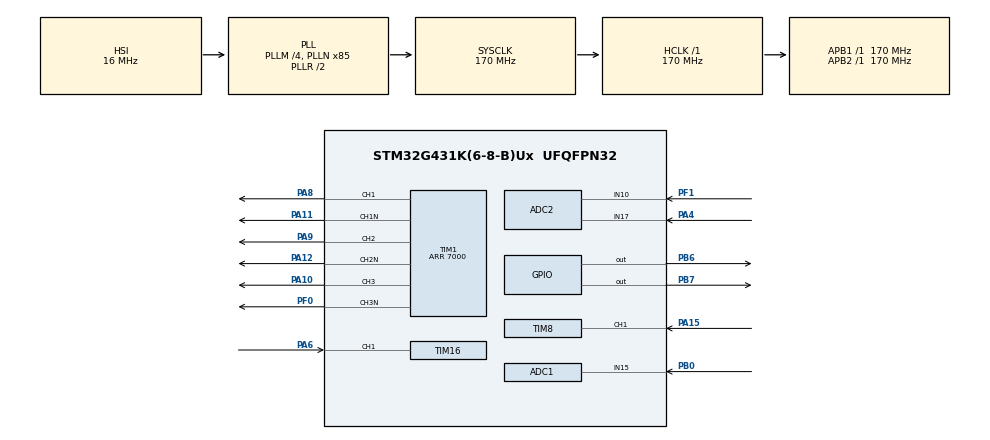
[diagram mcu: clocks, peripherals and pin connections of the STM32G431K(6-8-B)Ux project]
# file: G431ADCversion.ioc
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ADC1.Channel-0\#ChannelRegularConversion=ADC_CHANNEL_15
ADC1.ClockPrescaler=ADC_CLOCK_ASYNC_DIV4
ADC1.ExternalTrigConv=ADC_EXTERNALTRIG_T4_CC4
ADC1.NbrOfConversionFlag=1
ADC1.OffsetNumber-0\#ChannelRegularConversion=ADC_OFFSET_NONE
ADC1.Rank-0\#ChannelRegularConversion=1
ADC1.SamplingTime-0\#ChannelRegularConversion=ADC_SAMPLETIME_24CYCLES_5
ADC1.master=1
ADC2.Channel-0\#ChannelRegularConversion=ADC_CHANNEL_10
ADC2.ClockPrescaler=ADC_CLOCK_ASYNC_DIV4
ADC2.ExternalTrigConv=ADC_EXTERNALTRIG_T4_CC4
ADC2.NbrOfConversionFlag=1
ADC2.OffsetNumber-0\#ChannelRegularConversion=ADC_OFFSET_NONE
ADC2.Rank-0\#ChannelRegularConversion=1
ADC2.SamplingTime-0\#ChannelRegularConversion=ADC_SAMPLETIME_47CYCLES_5
Dma.Request0=TIM8_CH1
Dma.TIM8_CH1.0.Direction=DMA_PERIPH_TO_MEMORY
Dma.TIM8_CH1.0.EventEnable=DISABLE
Dma.TIM8_CH1.0.Instance=DMA1_Channel2
Dma.TIM8_CH1.0.MemDataAlignment=DMA_MDATAALIGN_WORD
Dma.TIM8_CH1.0.MemInc=DMA_MINC_ENABLE
Dma.TIM8_CH1.0.Mode=DMA_NORMAL
Dma.TIM8_CH1.0.PeriphDataAlignment=DMA_PDATAALIGN_HALFWORD
Dma.TIM8_CH1.0.PeriphInc=DMA_PINC_DISABLE
Dma.TIM8_CH1.0.Polarity=HAL_DMAMUX_REQ_GEN_RISING
Dma.TIM8_CH1.0.Priority=DMA_PRIORITY_MEDIUM
Dma.TIM8_CH1.0.RequestNumber=1
Dma.TIM8_CH1.0.SignalID=NONE
Dma.TIM8_CH1.0.SyncEnable=DISABLE
Dma.TIM8_CH1.0.SyncPolarity=HAL_DMAMUX_SYNC_NO_EVENT
Dma.TIM8_CH1.0.SyncRequestNumber=1
Dma.TIM8_CH1.0.SyncSignalID=NONE
IWDG.Reload=4095
IWDG.Window=4095
Mcu.Family=STM32G4
Mcu.Name=STM32G431K(6-8-B)Ux
Mcu.Package=UFQFPN32
NVIC.ADC1_2_IRQn=true\:0\:0\:true\:false\:true\:true\:true
NVIC.DMA1_Channel2_IRQn=true\:0\:0\:false\:false\:true\:false\:true
NVIC.PriorityGroup=NVIC_PRIORITYGROUP_4
NVIC.TIM1_UP_TIM16_IRQn=true\:1\:0\:true\:false\:true\:true\:true
PA10.Signal=S_TIM1_CH3
PA11.Mode=PWM Generation1 CH1 CH1N
PA11.Signal=TIM1_CH1N
PA12.Mode=PWM Generation2 CH2 CH2N
PA12.Signal=TIM1_CH2N
PA13.Signal=SYS_JTMS-SWDIO
PA14.Signal=SYS_JTCK-SWCLK
PA15.Signal=S_TIM8_CH1
PA4.Mode=IN17-Single-Ended
PA4.Signal=ADC2_IN17
PA6.Signal=S_TIM16_CH1
PA8.Signal=S_TIM1_CH1
PA9.Signal=S_TIM1_CH2
PB0.Mode=IN15-Single-Ended
PB0.Signal=ADC1_IN15
PB4.Signal=S_TIM3_CH1
PB6.Signal=GPIO_Output
PB7.Signal=GPIO_Output
PF0-OSC_IN.Mode=PWM Generation3 CH3 CH3N
PF0-OSC_IN.Signal=TIM1_CH3N
PF1-OSC_OUT.Mode=IN10-Single-Ended
PF1-OSC_OUT.Signal=ADC2_IN10
ProjectManager.HeapSize=0x200
ProjectManager.StackSize=0x400
ProjectManager.TargetToolchain=STM32CubeIDE
RCC.ADC12Freq_Value=170000000
RCC.AHBFreq_Value=170000000
RCC.APB1Freq_Value=170000000
RCC.APB1TimFreq_Value=170000000
RCC.APB2Freq_Value=170000000
RCC.APB2TimFreq_Value=170000000
RCC.CortexFreq_Value=170000000
RCC.EXTERNAL_CLOCK_VALUE=12288000
RCC.HCLKFreq_Value=170000000
RCC.HSE_VALUE=8000000
RCC.HSI48_VALUE=48000000
RCC.HSI_VALUE=16000000
RCC.LSE_VALUE=32768
RCC.PLLM=RCC_PLLM_DIV4
RCC.PLLN=85
RCC.SYSCLKFreq_VALUE=170000000
RCC.SYSCLKSource=RCC_SYSCLKSOURCE_PLLCLK
RCC.USBFreq_Value=170000000
RCC.VCOOutputFreq_Value=340000000
SH.S_TIM16_CH1.0=TIM16_CH1,Input_Capture1_from_TI1
SH.S_TIM1_CH1.0=TIM1_CH1,PWM Generation1 CH1 CH1N
SH.S_TIM1_CH2.0=TIM1_CH2,PWM Generation2 CH2 CH2N
SH.S_TIM1_CH3.0=TIM1_CH3,PWM Generation3 CH3 CH3N
SH.S_TIM3_CH1.0=TIM3_CH1
SH.S_TIM3_CH1.1=TIM3_CH1
SH.S_TIM8_CH1.0=TIM8_CH1,Input_Capture1_from_TI1
SH.S_TIM8_CH1.1=TIM8_CH1,TriggerSource_TI1FP1
TIM1.Channel-Output\ Compare4\ No\ Output=TIM_CHANNEL_4
TIM1.Channel-PWM\ Generation1\ CH1\ CH1N=TIM_CHANNEL_1
TIM1.Channel-PWM\ Generation2\ CH2\ CH2N=TIM_CHANNEL_2
TIM1.Channel-PWM\ Generation3\ CH3\ CH3N=TIM_CHANNEL_3
TIM1.DeadTime=80
TIM1.PeriodNoDither=7000
TIM1.TIM_MasterOutputTrigger=TIM_TRGO_UPDATE
TIM1.TIM_MasterSlaveMode=TIM_MASTERSLAVEMODE_ENABLE
TIM16.Channel=TIM_CHANNEL_1
TIM16.PeriodNoDither=8000
TIM16.Prescaler=3
TIM2.PeriodNoDither=125000
TIM4.Channel-Output\ Compare4\ No\ Output=TIM_CHANNEL_4
TIM4.PeriodNoDither=7000
TIM4.TIM_MasterOutputTrigger=TIM_TRGO_ENABLE
TIM4.TIM_MasterSlaveMode=TIM_MASTERSLAVEMODE_DISABLE
TIM8.Channel-Input_Capture1_from_TI1=TIM_CHANNEL_1
TIM8.ICPolarity_CH1=TIM_INPUTCHANNELPOLARITY_BOTHEDGE
TIM8.PeriodNoDither=65535
TIM8.Prescaler=3
VP_IWDG_VS_IWDG.Mode=IWDG_Activate
VP_SYS_VS_DBSignals.Mode=DisableDeadBatterySignals
VP_TIM16_VS_ClockSourceINT.Mode=Enable_Timer
VP_TIM1_VS_no_output4.Mode=Output Compare4 No Output
VP_TIM2_VS_ClockSourceINT.Mode=Internal
VP_TIM4_VS_no_output4.Mode=Output Compare4 No Output
VP_TIM8_VS_ControllerModeReset.Mode=Reset Mode
board=custom

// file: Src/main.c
/* USER CODE BEGIN Header */
/**
  ******************************************************************************
  * @file           : main.c
  * @brief          : Main program body
  ******************************************************************************
  * @attention
  *
  * <h2><center>&copy; Copyright (c) 2019 STMicroelectronics.
  * All rights reserved.</center></h2>
  *
  * This software component is licensed by ST under BSD 3-Clause license,
  * the "License"; You may not use this file except in compliance with the
  * License. You may obtain a copy of the License at:
  *                        opensource.org/licenses/BSD-3-Clause
  *
  ******************************************************************************
  */
/* USER CODE END Header */

#include "main.h"

ADC_HandleTypeDef hadc1;
ADC_HandleTypeDef hadc2;

IWDG_HandleTypeDef hiwdg;

TIM_HandleTypeDef htim1;
TIM_HandleTypeDef htim2;
TIM_HandleTypeDef htim4;
TIM_HandleTypeDef htim8;
TIM_HandleTypeDef htim16;
DMA_HandleTypeDef hdma_tim8_ch1;

/* USER CODE BEGIN PV */
uint16_t ADC1ConvertedValues[2];
//int bemf_a =0;

char bi_direction = 1;
char reversed_direction = 0;

int zero_input_count =0;

int ticks = 0;
int toggled = 0;
int running = 0;
int advance = 0;
int blanktime;
int START_ARR=800;
int rising = 1;
int count = 0;

int forward = 1;
int error = 0;
int zc_counts;
int threshold_up = 50;
int threshold_down = 0;

int ADCtimer= 30;
int demagtime = 50;

int whatstepisthis = 0 ;       // for debugging
int myneutral = 1300; // for debugging
int myneutralup = 1500;

int IC_buffer_size = 64;
int smallestnumber = 20000;
uint32_t dma_buffer[64];
int propulse[4] = {0,0,0,0};
int dpulse[16] =  {0,0,0,0,0,0,0,0,0,0,0,0,0,0,0,0};

int calcCRC;
int checkCRC;
int dshotcommand;
int tocheck = 0;
int commandcount = 0;

int max_servo_deviation = 100;
int servorawinput = 0;
int input = 0;
int newinput =0;
int total = 0;
char inputSet = 0;
char dshot = 0;
char proshot = 0;
char multishot = 0;
char oneshot42 = 0;
char oneshot125 = 0;
char servoPwm = 0;

char armed = 0;

int integral = 0;
int threshold = 850;
int zcfound = 0;
int difference;
int bemfcounter;
int min_zc_counts_up = 1;
int min_zc_counts_down = 1;

int adc_timer = 600;
int ROC = 1;

int lastzctime;
int thiszctime;
int upthiszctime;
int uplastzctime;
int wait_time;

int phase = 1;

int tim2_start_arr= 616;

uint32_t last_adc_channel;

int duty_cycle= 33;   // USE EXTREME CAUTION WHEN TESTING

int bemf_rising = 1;

int step = 1;
int pot = 1000;

int commutation_interval = 6000;
int pwm = 1;
int floating =2;
int lowside = 3;
int zero_cross_offset_up= 1;  //  up and down offset adc read
int zero_cross_offset_down= 30;
int sensorless = 1;
int waitTime = 0;
int threshhold = 5;

int signaltimeout = 0;

uint8_t ubAnalogWatchdogStatus = RESET;

int bemf = 0;
int bemfb = 0;
int bemfc = 0;
int neutral = 0;

/* USER CODE END PV */

void SystemClock_Config(void);
static void MX_GPIO_Init(void);
static void MX_DMA_Init(void);
static void MX_ADC1_Init(void);
static void MX_ADC2_Init(void);
static void MX_IWDG_Init(void);
static void MX_TIM1_Init(void);
static void MX_TIM2_Init(void);
static void MX_TIM4_Init(void);
static void MX_TIM8_Init(void);
static void MX_TIM16_Init(void);

/* USER CODE BEGIN 0 */
//////////////////////////////////PHASE 1//////////////////////
long map(long x, long in_min, long in_max, long out_min, long out_max)
{
	if (x < in_min){
		x = in_min;
	}
	if (x > in_max){
		x = in_max;
	}
	return (x - in_min) * (out_max - out_min) / (in_max - in_min) + out_min;

}
void phaseBPWM() {

		LL_GPIO_SetPinMode(GPIOA, GPIO_PIN_12, LL_GPIO_MODE_ALTERNATE); // low

		LL_GPIO_SetPinMode(GPIOA, GPIO_PIN_9, LL_GPIO_MODE_ALTERNATE);  // high

	}

void phaseBFLOAT() {

		LL_GPIO_SetPinMode(GPIOA, GPIO_PIN_12, LL_GPIO_MODE_OUTPUT);
		GPIOA->BRR = GPIO_PIN_12;
		LL_GPIO_SetPinMode(GPIOA, GPIO_PIN_9, LL_GPIO_MODE_OUTPUT);
		GPIOA->BRR = GPIO_PIN_9;
	}

void phaseBLOW() {

	        // low mosfet on
		LL_GPIO_SetPinMode(GPIOA, GPIO_PIN_12, LL_GPIO_MODE_OUTPUT);
		GPIOA->BSRR = GPIO_PIN_12;
		LL_GPIO_SetPinMode(GPIOA, GPIO_PIN_9, LL_GPIO_MODE_OUTPUT);
		GPIOA->BRR = GPIO_PIN_9;
	}

//////////////////////////////PHASE 2//////////////////////////////////////////////////

void phaseAPWM() {

		LL_GPIO_SetPinMode(GPIOA, GPIO_PIN_11, LL_GPIO_MODE_ALTERNATE);

		LL_GPIO_SetPinMode(GPIOA, GPIO_PIN_8, LL_GPIO_MODE_ALTERNATE);           //HIGH

	}

void phaseAFLOAT() {

	         // floating
		LL_GPIO_SetPinMode(GPIOA, GPIO_PIN_11, LL_GPIO_MODE_OUTPUT);           // LOW
		GPIOA->BRR = GPIO_PIN_11;
		LL_GPIO_SetPinMode(GPIOA, GPIO_PIN_8, LL_GPIO_MODE_OUTPUT);            //HIGH
		GPIOA->BRR = GPIO_PIN_8;
	}

void phaseALOW() {

	            // lowside
		LL_GPIO_SetPinMode(GPIOA, GPIO_PIN_11, LL_GPIO_MODE_OUTPUT);
		GPIOA->BSRR = GPIO_PIN_11;
		LL_GPIO_SetPinMode(GPIOA, GPIO_PIN_8, LL_GPIO_MODE_OUTPUT);
		GPIOA->BRR = GPIO_PIN_8;
	}

///////////////////////////////////////////////PHASE 3 /////////////////////////////////////////////////

void phaseCPWM() {

		LL_GPIO_SetPinMode(GPIOF, GPIO_PIN_0, LL_GPIO_MODE_ALTERNATE); //low

		LL_GPIO_SetPinMode(GPIOA, GPIO_PIN_10, LL_GPIO_MODE_ALTERNATE);//high

	}

void phaseCFLOAT() {

		LL_GPIO_SetPinMode(GPIOF, GPIO_PIN_0, LL_GPIO_MODE_OUTPUT);
		GPIOF->BRR = GPIO_PIN_0;
		LL_GPIO_SetPinMode(GPIOA, GPIO_PIN_10, LL_GPIO_MODE_OUTPUT);
		GPIOA->BRR = GPIO_PIN_10;
	}

void phaseCLOW() {

		LL_GPIO_SetPinMode(GPIOF, GPIO_PIN_0, LL_GPIO_MODE_OUTPUT); // low
		GPIOF->BSRR = GPIO_PIN_0;
		LL_GPIO_SetPinMode(GPIOA, GPIO_PIN_10, LL_GPIO_MODE_OUTPUT); //high
		GPIOA->BRR = GPIO_PIN_10;
	}

void  comStep (int newStep){
//TIM14->CNT = 0;
switch(newStep)
{

        case 1:			//A-B
        	phaseAPWM();
        	phaseBLOW();
        	phaseCFLOAT();
        	break;

        case 2:		// C-B
        	phaseAFLOAT();
        	phaseBLOW();
        	phaseCPWM();
        	break;

        case 3:	// C-A
        	phaseALOW();
        	phaseBFLOAT();
        	phaseCPWM();
        	break;

        case 4:// B-A
        	phaseALOW();
        	phaseBPWM();
        	phaseCFLOAT();
        	break;

        case 5:    // B-C
        	phaseAFLOAT();
        	phaseBPWM();
        	phaseCLOW();
        	break;

        case 6:      // A-C
        	phaseAPWM();
        	phaseBFLOAT();
        	phaseCLOW();
        	break;
	}

//stop_time = TIM14->CNT;

}

void allOff() {                   // coast
	phaseAFLOAT();
	phaseBFLOAT();
	phaseCFLOAT();
}

void fullBrake(){                     // full braking shorting all low sides
	phaseALOW();
	phaseBLOW();
	phaseCLOW();
}
void HAL_TIM_PeriodElapsedCallback(TIM_HandleTypeDef *htim){

			if (htim->Instance==TIM16)
			{

			if(inputSet == 1){
				 if (!HAL_GPIO_ReadPin(GPIOA, GPIO_PIN_15)){

		     HAL_TIM_IC_Stop_DMA(&htim8,TIM_CHANNEL_1);
			 TIM15->CNT = 0;
//			 for (int i = 0; i < 8; i++){
//			 							dma_buffer[i]=0;
//			 						}

				 HAL_TIM_IC_Start_DMA(&htim8, TIM_CHANNEL_1, dma_buffer , IC_buffer_size);
			 }

			 }

		}

}

void detectInput(){
	smallestnumber = 20000;
	dshot = 0;
	proshot = 0;
	multishot = 0;
	oneshot42 = 0;
	oneshot125 = 0;
	servoPwm = 0;
//	int lastnumber = dma_buffer[0];
	for ( int j = 1 ; j < IC_buffer_size; j++){

		if(dma_buffer[j]  < smallestnumber){ // blank space
			smallestnumber = dma_buffer[j];
		}

	}

	if ((smallestnumber > 3)&&(smallestnumber < 20)){
		dshot = 1;
		TIM8->PSC = 69;
		IC_buffer_size = 32;
		TIM16->ARR = 8000;
	}
	if ((smallestnumber > 20)&&(smallestnumber < 30)){
			dshot = 1;
			TIM8->PSC = 113;
			TIM16->PSC = 4;
			TIM16->ARR = 8000;
			IC_buffer_size = 32;
		}

	if ((smallestnumber > 40 )&&(smallestnumber < 80)){
		proshot = 1;
		TIM8->PSC = 4;
		IC_buffer_size = 8;
		TIM16->ARR = 8000;
	}

	if (smallestnumber > 100){
		servoPwm = 1;
		TIM15->PSC = 169;
//		TIM16->PSC = 47;
//		TIM16->ARR = 10000;
		HAL_TIM_Base_Stop(&htim16);
		IC_buffer_size = 6;

	}

	if (smallestnumber == 0){
		inputSet = 0;
	}else{

		inputSet = 1;

		HAL_Delay(50);
		//	playInputTune();
	}
	HAL_TIM_IC_Start_DMA(&htim8, TIM_CHANNEL_1, dma_buffer , IC_buffer_size);
}

void computeProshotDMA(){

total = dma_buffer[1]+ dma_buffer[2] + dma_buffer[3] + dma_buffer[4]+ dma_buffer[5] + dma_buffer[6] + dma_buffer[7];

   if (( total < 118 && total > 98)&& (dma_buffer[0]> 100)){
   for (int i = 1; i < 8; i +=2){
    propulse[(i-1) / 2] = (dma_buffer[i] - 7);
					}
   }else{

	   return;
   }
	calcCRC = ((propulse[0]^propulse[1]^propulse[2])<<3
							|(propulse[0]^propulse[1]^propulse[2])<<2
							|(propulse[0]^propulse[1]^propulse[2])<<1
							|(propulse[0]^propulse[1]^propulse[2]));

	checkCRC = (propulse[3]<<3 | propulse[3]<<2 | propulse[3]<<1 | propulse[3]);
    if ( checkCRC == calcCRC){
    	tocheck = ((propulse[0]<<7 | propulse[1]<<3 | propulse[2]>>1));
    }else{
 //   	error++;
    }
    if (tocheck > 47 && tocheck < 2048){
    	newinput = tocheck ;
    				commandcount = 0;

    			}else if (tocheck > 1 && tocheck < 48 && input == 0){

    					dshotcommand = tocheck ;
    			}else{
    				commandcount++;
    				if (commandcount > 1){
    				newinput = tocheck ;
    			    commandcount = 0;
    			}
    			}

}

void computeDshotDMA(){

	if (dma_buffer[0] < 20){
		return;
	}

//	for (int i = 1; i < 32; i+=2){
//		dpulse[(i-1)>>1] = dma_buffer[i] ;
//	}
	 calcCRC = ((dma_buffer[1]^dma_buffer[9]^dma_buffer[17])<<3
			          |(dma_buffer[3]^dma_buffer[11]^dma_buffer[19])<<2
					|(dma_buffer[5]^dma_buffer[13]^dma_buffer[21])<<1
					|(dma_buffer[7]^dma_buffer[15]^dma_buffer[23])
				);
//	 calcCRC = ((dpulse[0]^dpulse[4]^dpulse[8])<<3
//			          |(dpulse[1]^dpulse[5]^dpulse[9])<<2
//					|(dpulse[2]^dpulse[6]^dpulse[10])<<1
//					|(dpulse[3]^dpulse[7]^dpulse[11])
//				);
//	 checkCRC = (dpulse[12]<<3 | dpulse[13]<<2 | dpulse[14]<<1 | dpulse[15]);
	 checkCRC = (dma_buffer[25]<<3 | dma_buffer[27]<<2 | dma_buffer[29]<<1 | dma_buffer[31]);
//
			if(calcCRC == checkCRC){
				tocheck = (
						dma_buffer[1]<<10 | dma_buffer[3]<<9 | dma_buffer[5]<<8 | dma_buffer[7]<<7
					| dma_buffer[9]<<6 | dma_buffer[11]<<5 | dma_buffer[13]<<4 | dma_buffer[15]<<3
					| dma_buffer[17]<<2 | dma_buffer[19]<<1 | dma_buffer[21]);
//				success++;
				}else{
					error++;
				}

			if (tocheck > 47 && tocheck < 2048){
				newinput = tocheck;
				commandcount = 0;
			}else if (tocheck > 1 && tocheck < 48 && input == 0){

					dshotcommand = tocheck ;

			}else{
				commandcount++;
				if (commandcount > 1){
				newinput = tocheck ;
			    commandcount = 0;
			}
			}

}

void computeServoInput(){

	if ( dma_buffer[1] < 2000 && dma_buffer[1] > 1000){
		if(dma_buffer[2]< 1000 || dma_buffer[2] > 2500){

		servorawinput = map(dma_buffer[1], 1100,2000,0,2000);
		}
	}else if( dma_buffer[2] < 2000 && dma_buffer[2] > 1000) {
		if(dma_buffer[1]< 1000 || dma_buffer[1] > 2500){
		servorawinput = map(dma_buffer[2], 1100,2000,0,2000);
		}
	}

	if (servorawinput - newinput > max_servo_deviation){
		newinput += max_servo_deviation;
	}else if(newinput - servorawinput > max_servo_deviation){
		newinput -= max_servo_deviation;
	}else{
		newinput = servorawinput;
	}

}

void transferComplete(){

//	compit = 0;
	signaltimeout = 0;

	if (inputSet == 1){
		if (dshot == 1){
			computeDshotDMA();

			return;
		}
		if (proshot == 1){
			computeProshotDMA();

			return;
		}

		if  (servoPwm == 1){
			computeServoInput();
				HAL_TIM_IC_Start_DMA(&htim8, TIM_CHANNEL_1, dma_buffer , 3);
				}
}

}
void switchADCPhase(){
	ADC_ChannelConfTypeDef sConfig;
//	HAL_ADC_Stop_IT(&hadc1);
	//clear old channel
	    /**Configure for the selected ADC regular channel to be converted.
	     *
	     *
	    */

	 if (step == 1 || step == 4){            //        in phase 1 or 4 read from phase c Pf1 adc2
		 HAL_ADC_Stop_IT(&hadc2);
		 HAL_ADC_Stop_IT(&hadc1);
		 //		  sConfig.Rank = ADC_RANK_NONE;
//	//	  sConfig.SamplingTime = ADC_SAMPLETIME_1CYCLE_5;
//		  sConfig.Channel = last_adc_channel;
//		   	   		  if (HAL_ADC_ConfigChannel(&hadc, &sConfig) != HAL_OK)
//		   	   		  {
//		   	   		    _Error_Handler(__FILE__, __LINE__);
//		   	   		  }
		   sConfig.Channel = ADC_CHANNEL_10;
		   sConfig.Rank = ADC_REGULAR_RANK_1;

	      if (HAL_ADC_ConfigChannel(&hadc2, &sConfig) != HAL_OK)
	      {
	    	  Error_Handler();
	      }
	      HAL_ADC_Start_IT(&hadc2);
		}
   if (step == 2 || step == 5){            //        in phase two or 5 read from phase A PA4 adc2
	   HAL_ADC_Stop_IT(&hadc2);
	   HAL_ADC_Stop_IT(&hadc1);
	   //	  sConfig.Rank = ADC_RANK_NONE;
////	  sConfig.SamplingTime = ADC_SAMPLETIME_1CYCLE_5;
//	  sConfig.Channel = last_adc_channel;
//	   	   		  if (HAL_ADC_ConfigChannel(&hadc, &sConfig) != HAL_OK)
//	   	   		  {
//	   	   		    _Error_Handler(__FILE__, __LINE__);
//	   	   		  }

	   	   	sConfig.Channel = ADC_CHANNEL_17;
	   	   	  sConfig.Rank = ADC_REGULAR_RANK_1;

      if (HAL_ADC_ConfigChannel(&hadc2, &sConfig) != HAL_OK)
      {
    	  Error_Handler();
      }
      HAL_ADC_Start_IT(&hadc2);
	}

   if (step == 3 || step == 6){                         // phase B pb0 --- on adc 1 does not change
	   HAL_ADC_Stop_IT(&hadc2);
	   //	     sConfig.Rank = ADC_RANK_NONE;
//	     sConfig.Channel = last_adc_channel;
//	//     sConfig.SamplingTime = ADC_SAMPLETIME_1CYCLE_5;
//	     if (HAL_ADC_ConfigChannel(&hadc, &sConfig) != HAL_OK)
//				  {
//				    _Error_Handler(__FILE__, __LINE__);
//				  }
//	    sConfig.Rank = ADC_RANK_CHANNEL_NUMBER;
//		sConfig.Channel = ADC_CHANNEL_1;
//
//	    if (HAL_ADC_ConfigChannel(&hadc, &sConfig) != HAL_OK)
//				  {
//				    _Error_Handler(__FILE__, __LINE__);
//				  }
//	    last_adc_channel=ADC_CHANNEL_1;
	   HAL_ADC_Start_IT(&hadc1);      // zc found is not set to 0 until end of zcfound routine
			}
}
void commutate(){
	if (forward == 1){
		step++;
		if (step > 6) {
			step = 1;
		}
		if (step == 1 || step == 3 || step == 5) {
			rising = 1;                                // is back emf rising or falling
		}
		if (step == 2 || step == 4 || step == 6) {
			rising = 0;
		}
	}
	if (forward == 0){
		step--;
		if (step < 1) {
			step = 6;
		}
		if (step == 1 || step == 3 || step == 5) {
			rising = 0;
		}
		if (step == 2 || step == 4 || step == 6) {
			rising = 1;
		}
	}
	comStep(step);
	switchADCPhase();
	bemfcounter = 0;
//	zcfound = 0;
}

void playStartupTune(){
	TIM1->PSC = 75;
	TIM1->CCR1 = 5;
	TIM1->CCR2 = 5;
	TIM1->CCR3 = 5;
	comStep(2);
	HAL_Delay(100);
	TIM1->PSC = 50;
	HAL_Delay(100);
	TIM1->PSC = 25;
	HAL_Delay(100);
	allOff();
	TIM1->PSC = 0;
}

void playInputTune(){
	TIM1->PSC = 100;
	TIM1->CCR1 = 5;
	TIM1->CCR2 = 5;
	TIM1->CCR3 = 5;
	comStep(2);
	HAL_Delay(100);
	TIM1->PSC = 50;
	HAL_Delay(100);
	allOff();
	TIM1->PSC = 0;
}

void zcfoundroutine(){
	thiszctime = TIM2->CNT;
	TIM2->CNT = 0;
	commutation_interval = thiszctime + commutation_interval / 2;
	waitTime = commutation_interval / 2;
	blanktime = commutation_interval / 4;
	while (TIM2->CNT - thiszctime < waitTime - advance){

	}
	commutate();
	zc_counts++;
	while (TIM2->CNT - thiszctime < waitTime + blanktime){

	}
//	HAL_ADC_Start_IT(&hadc);
    zcfound = 0;
}
void HAL_ADC_ConvCpltCallback(ADC_HandleTypeDef* hadc)
{
	//TIM1->CCR4 = adc_timer;

if(!zcfound){
	bemf = HAL_ADC_GetValue(hadc);
if (rising){
	if (bemf > threshold_up){

     bemfcounter++;

	}
    }  else{
	if (bemf <= threshold_down){
		bemfcounter++;

	}
	}
}
}
/* USER CODE END 0 */

int main(void)
{

  /* MCU Configuration--------------------------------------------------------*/

  /* Reset of all peripherals, Initializes the Flash interface and the Systick. */
  HAL_Init();

  /* Configure the system clock */
  SystemClock_Config();

  /* Initialize all configured peripherals */
  MX_GPIO_Init();
  MX_DMA_Init();
  MX_ADC1_Init();
  MX_ADC2_Init();
  MX_IWDG_Init();
  MX_TIM1_Init();
  MX_TIM2_Init();
  MX_TIM4_Init();
  MX_TIM8_Init();
  MX_TIM16_Init();
  /* USER CODE BEGIN 2 */
  HAL_TIM_PWM_Start(&htim1, TIM_CHANNEL_1);
  HAL_TIMEx_PWMN_Start(&htim1, TIM_CHANNEL_1);             // uncomment for comp_pwm
  HAL_TIM_PWM_Start(&htim1, TIM_CHANNEL_2);
  HAL_TIMEx_PWMN_Start(&htim1, TIM_CHANNEL_2);
  HAL_TIM_PWM_Start(&htim1, TIM_CHANNEL_3);
  HAL_TIMEx_PWMN_Start(&htim1, TIM_CHANNEL_3);
  HAL_Delay(10);

  if (HAL_TIM_OC_Start(&htim4, TIM_CHANNEL_4) != HAL_OK)
  		{
	  Error_Handler();
    }

  if (HAL_ADC_Start_IT(&hadc1) != HAL_OK)
	  return 0;
  if (HAL_ADC_Start_IT(&hadc2) != HAL_OK)
 	  return 0;

  TIM4->CCR4 = 800;                // adc read timer.

  HAL_TIM_Base_Start(&htim2);
  HAL_TIM_Base_Start(&htim8);
  HAL_TIM_Base_Start_IT(&htim16);

  HAL_TIM_IC_Start_DMA(&htim8, TIM_CHANNEL_1, dma_buffer , 64);

  GPIOB->BSRR = GPIO_PIN_7;            // to put bemf into on or off time sense mode, high output for off time ( default)

  playStartupTune();

  //GPIOA->BSRR = GPIO_PIN_11;          // maybe LED?
  running = 0;
  duty_cycle = 1;
	if(HAL_IWDG_Init(&hiwdg) != HAL_OK)
	{
		/* Initialization Error */
		Error_Handler();
	}
  /* USER CODE END 2 */

  /* Infinite loop */
  /* USER CODE BEGIN WHILE */
  while (1)
  {
	  count++;
	  if (count  > 20000){
	 	 count = 0;
	 	HAL_GPIO_TogglePin(GPIOB, GPIO_PIN_6);
	  }

	  if (inputSet == 0){
	 	 detectInput();
	  }
	 	  if (zero_input_count > 200 && !armed){
	 		  armed = 1;
	 		  playInputTune();
	 	  }

	 	  if (bi_direction == 1 && proshot == 0){

	 		if ( newinput > 1100 ){
	 			if(reversed_direction){
	 			if (forward == 1){
	 				forward = 0 ;
	 			}
	 			}else{
	 			if (forward == 0){
	 				forward = 1 ;
	 			}
	 			}
	 				input = (newinput - 1050)*3;
	 		}

	 		if (newinput < 800) {
	 			if(reversed_direction){
	 				if (forward == 0){
	 				forward = 1;
	 			}
	 			}else{

	 			if (forward == 1){
	 				forward = 0;
	 			}
	 			}
	 				input = (800 - newinput) * 3;
	 		}

	 		if (newinput > 800 && newinput < 1100){
	 			input = 0;

	 		}
	 	}else if((proshot || dshot)&& bi_direction){
	  					if ( newinput > 1100 ){

	  					  if (!forward){
	  						forward = 1 ;
	  					  }
	  						input = (newinput - 1100) * 2 ;

	  					}if ( newinput <= 1047 ){
	  						if(forward){
	  					forward = 0;
	  						}
	  						input = (newinput - 90) * 2 ;
	  					}
	  					if ((newinput > 1047 && newinput < 1100) || newinput < 100){
	  						input = 0;
	  					}

	  				}else{
	 	 input = newinput;
	 }

	 	if ((input > 47) && (armed == 1)) {
	 		  			running = 1;

	 		  			duty_cycle = (input  - 40) * 4;

	 		  			if (zc_counts < 20) {
	 		  				if (duty_cycle < 600) {
	 		  					duty_cycle = 600;
	 		  				}
	 		  				if (duty_cycle > 1800) {
	 		  					duty_cycle = 1800;
	 		  				}
	 		  			}

	 		  			if (zc_counts < 50 ){
	 		  				if (duty_cycle > 2000){
	 		  					duty_cycle = 2000;
	 		  				}
	 		  			}

	 		  				if (duty_cycle > 3000) {                             // safety!!!  set to only 50 percent power
	 		  					duty_cycle = 3000;
	 		  				}
	 		  				if (duty_cycle < 180) {
	 		  					duty_cycle = 180;
	 		  				}

	 		  				if (duty_cycle < 2000){
	 		  		 		 TIM4->CCR4 = 3000;
	 		  		 		 }

	 		  		 	 if (duty_cycle > 2000){
	 		  		 		 TIM4->CCR4 = 6000;
	 		  		 	 }

	 		  				TIM1->CCR1 = duty_cycle;// set duty cycle to 50 out of 768 to start.
	 		  				TIM1->CCR2 = duty_cycle;
	 		  				TIM1->CCR3 = duty_cycle;
	 		  				//	TIM1->CCR4 = duty_cycle;

	  }

	 if ( duty_cycle < 1000){
	 	min_zc_counts_up = 10;
	 	min_zc_counts_down = 10;
	 }else{
	 	min_zc_counts_up = commutation_interval / 5000;
	 	min_zc_counts_down = commutation_interval / 5000;
	 }

	 if (input < 140){
	 	 running = 0;
	 	 duty_cycle = 0;
	 	zc_counts = 0;

	 	 TIM1->CCR1 = duty_cycle;												// set duty cycle to 50 out of 768 to start.
	 	 TIM1->CCR2 = duty_cycle;
	 	 TIM1->CCR3 = duty_cycle;
	 	 TIM4->CNT = TIM1->CNT;                 // lazy synchronization
	  }

	// 	  GPIOF->BRR = GPIO_PIN_0;

	 	 // test speed of adc change

	 	//  GPIOF->BRR = GPIO_PIN_0;

	 	  if(HAL_IWDG_Refresh(&hiwdg) != HAL_OK)                   // watchdog refresh
	 	  			{
	 	  				/* Refresh Error */
	 	  				Error_Handler();
	 	  			}

	  if (!zcfound){
	 	  		  if (rising){
	 	  		 if (bemfcounter > min_zc_counts_up){
	 	  			 GPIOF->BSRR = GPIO_PIN_0;
	 	  			 zcfound = 1;
	 	  			 bemfcounter = 0;
	 	  			 zcfoundroutine();
	 	  		//	 break;

	 	  		}
	 	  		  }else{
	 	  			  if (bemfcounter > min_zc_counts_down){
	 	  			  			 GPIOF->BSRR = GPIO_PIN_0;
	 	  			  			 zcfound = 1;
	 	  			  			 bemfcounter = 0;
	 	  			  			 zcfoundroutine();
	 	  			  //			 break;

	 	  			  		}
	 	  		  }
	 	  	  }
  	  if (TIM2->CNT > 60000 && running == 1){           // this starts the motor
  		//  TIM3->CNT = commutation_interval / 2;
  		  zcfoundroutine();
  		zc_counts = 0;
  	  }

    /* USER CODE END WHILE */

  }
}

void SystemClock_Config(void)
{
  RCC_OscInitTypeDef RCC_OscInitStruct = {0};
  RCC_ClkInitTypeDef RCC_ClkInitStruct = {0};
  RCC_PeriphCLKInitTypeDef PeriphClkInit = {0};

  /** Configure the main internal regulator output voltage
  */
  HAL_PWREx_ControlVoltageScaling(PWR_REGULATOR_VOLTAGE_SCALE1_BOOST);
  /** Initializes the CPU, AHB and APB busses clocks
  */
  RCC_OscInitStruct.OscillatorType = RCC_OSCILLATORTYPE_HSI|RCC_OSCILLATORTYPE_LSI;
  RCC_OscInitStruct.HSIState = RCC_HSI_ON;
  RCC_OscInitStruct.HSICalibrationValue = RCC_HSICALIBRATION_DEFAULT;
  RCC_OscInitStruct.LSIState = RCC_LSI_ON;
  RCC_OscInitStruct.PLL.PLLState = RCC_PLL_ON;
  RCC_OscInitStruct.PLL.PLLSource = RCC_PLLSOURCE_HSI;
  RCC_OscInitStruct.PLL.PLLM = RCC_PLLM_DIV4;
  RCC_OscInitStruct.PLL.PLLN = 85;
  RCC_OscInitStruct.PLL.PLLP = RCC_PLLP_DIV2;
  RCC_OscInitStruct.PLL.PLLQ = RCC_PLLQ_DIV2;
  RCC_OscInitStruct.PLL.PLLR = RCC_PLLR_DIV2;
  if (HAL_RCC_OscConfig(&RCC_OscInitStruct) != HAL_OK)
  {
    Error_Handler();
  }
  /** Initializes the CPU, AHB and APB busses clocks
  */
  RCC_ClkInitStruct.ClockType = RCC_CLOCKTYPE_HCLK|RCC_CLOCKTYPE_SYSCLK
                              |RCC_CLOCKTYPE_PCLK1|RCC_CLOCKTYPE_PCLK2;
  RCC_ClkInitStruct.SYSCLKSource = RCC_SYSCLKSOURCE_PLLCLK;
  RCC_ClkInitStruct.AHBCLKDivider = RCC_SYSCLK_DIV1;
  RCC_ClkInitStruct.APB1CLKDivider = RCC_HCLK_DIV1;
  RCC_ClkInitStruct.APB2CLKDivider = RCC_HCLK_DIV1;

  if (HAL_RCC_ClockConfig(&RCC_ClkInitStruct, FLASH_LATENCY_8) != HAL_OK)
  {
    Error_Handler();
  }
  /** Initializes the peripherals clocks
  */
  PeriphClkInit.PeriphClockSelection = RCC_PERIPHCLK_ADC12;
  PeriphClkInit.Adc12ClockSelection = RCC_ADC12CLKSOURCE_SYSCLK;
  if (HAL_RCCEx_PeriphCLKConfig(&PeriphClkInit) != HAL_OK)
  {
    Error_Handler();
  }
}

static void MX_ADC1_Init(void)
{

  ADC_MultiModeTypeDef multimode = {0};
  ADC_ChannelConfTypeDef sConfig = {0};

  /** Common config
  */
  hadc1.Instance = ADC1;
  hadc1.Init.ClockPrescaler = ADC_CLOCK_ASYNC_DIV4;
  hadc1.Init.Resolution = ADC_RESOLUTION_12B;
  hadc1.Init.DataAlign = ADC_DATAALIGN_RIGHT;
  hadc1.Init.GainCompensation = 0;
  hadc1.Init.ScanConvMode = ADC_SCAN_DISABLE;
  hadc1.Init.EOCSelection = ADC_EOC_SINGLE_CONV;
  hadc1.Init.LowPowerAutoWait = DISABLE;
  hadc1.Init.ContinuousConvMode = DISABLE;
  hadc1.Init.NbrOfConversion = 1;
  hadc1.Init.DiscontinuousConvMode = DISABLE;
  hadc1.Init.ExternalTrigConv = ADC_EXTERNALTRIG_T4_CC4;
  hadc1.Init.ExternalTrigConvEdge = ADC_EXTERNALTRIGCONVEDGE_RISING;
  hadc1.Init.DMAContinuousRequests = DISABLE;
  hadc1.Init.Overrun = ADC_OVR_DATA_PRESERVED;
  hadc1.Init.OversamplingMode = DISABLE;
  if (HAL_ADC_Init(&hadc1) != HAL_OK)
  {
    Error_Handler();
  }
  /** Configure the ADC multi-mode
  */
  multimode.Mode = ADC_MODE_INDEPENDENT;
  if (HAL_ADCEx_MultiModeConfigChannel(&hadc1, &multimode) != HAL_OK)
  {
    Error_Handler();
  }
  /** Configure Regular Channel
  */
  sConfig.Channel = ADC_CHANNEL_15;
  sConfig.Rank = ADC_REGULAR_RANK_1;
  sConfig.SamplingTime = ADC_SAMPLETIME_24CYCLES_5;
  sConfig.SingleDiff = ADC_SINGLE_ENDED;
  sConfig.OffsetNumber = ADC_OFFSET_NONE;
  sConfig.Offset = 0;
  if (HAL_ADC_ConfigChannel(&hadc1, &sConfig) != HAL_OK)
  {
    Error_Handler();
  }

}

static void MX_ADC2_Init(void)
{

  ADC_ChannelConfTypeDef sConfig = {0};

  /** Common config
  */
  hadc2.Instance = ADC2;
  hadc2.Init.ClockPrescaler = ADC_CLOCK_ASYNC_DIV4;
  hadc2.Init.Resolution = ADC_RESOLUTION_12B;
  hadc2.Init.DataAlign = ADC_DATAALIGN_RIGHT;
  hadc2.Init.GainCompensation = 0;
  hadc2.Init.ScanConvMode = ADC_SCAN_DISABLE;
  hadc2.Init.EOCSelection = ADC_EOC_SINGLE_CONV;
  hadc2.Init.LowPowerAutoWait = DISABLE;
  hadc2.Init.ContinuousConvMode = DISABLE;
  hadc2.Init.NbrOfConversion = 1;
  hadc2.Init.DiscontinuousConvMode = DISABLE;
  hadc2.Init.ExternalTrigConv = ADC_EXTERNALTRIG_T4_CC4;
  hadc2.Init.ExternalTrigConvEdge = ADC_EXTERNALTRIGCONVEDGE_RISING;
  hadc2.Init.DMAContinuousRequests = DISABLE;
  hadc2.Init.Overrun = ADC_OVR_DATA_PRESERVED;
  hadc2.Init.OversamplingMode = DISABLE;
  if (HAL_ADC_Init(&hadc2) != HAL_OK)
  {
    Error_Handler();
  }
  /** Configure Regular Channel
  */
  sConfig.Channel = ADC_CHANNEL_10;
  sConfig.Rank = ADC_REGULAR_RANK_1;
  sConfig.SamplingTime = ADC_SAMPLETIME_47CYCLES_5;
  sConfig.SingleDiff = ADC_SINGLE_ENDED;
  sConfig.OffsetNumber = ADC_OFFSET_NONE;
  sConfig.Offset = 0;
  if (HAL_ADC_ConfigChannel(&hadc2, &sConfig) != HAL_OK)
  {
    Error_Handler();
  }

}

static void MX_IWDG_Init(void)
{

  hiwdg.Instance = IWDG;
  hiwdg.Init.Prescaler = IWDG_PRESCALER_4;
  hiwdg.Init.Window = 4095;
  hiwdg.Init.Reload = 4095;
  if (HAL_IWDG_Init(&hiwdg) != HAL_OK)
  {
    Error_Handler();
  }

}

static void MX_TIM1_Init(void)
{

  TIM_MasterConfigTypeDef sMasterConfig = {0};
  TIM_OC_InitTypeDef sConfigOC = {0};
  TIM_BreakDeadTimeConfigTypeDef sBreakDeadTimeConfig = {0};

  htim1.Instance = TIM1;
  htim1.Init.Prescaler = 0;
  htim1.Init.CounterMode = TIM_COUNTERMODE_UP;
  htim1.Init.Period = 7000;
  htim1.Init.ClockDivision = TIM_CLOCKDIVISION_DIV1;
  htim1.Init.RepetitionCounter = 0;
  htim1.Init.AutoReloadPreload = TIM_AUTORELOAD_PRELOAD_DISABLE;
  if (HAL_TIM_PWM_Init(&htim1) != HAL_OK)
  {
    Error_Handler();
  }
  if (HAL_TIM_OC_Init(&htim1) != HAL_OK)
  {
    Error_Handler();
  }
  sMasterConfig.MasterOutputTrigger = TIM_TRGO_RESET;
  sMasterConfig.MasterOutputTrigger2 = TIM_TRGO2_RESET;
  sMasterConfig.MasterSlaveMode = TIM_MASTERSLAVEMODE_DISABLE;
  if (HAL_TIMEx_MasterConfigSynchronization(&htim1, &sMasterConfig) != HAL_OK)
  {
    Error_Handler();
  }
  sConfigOC.OCMode = TIM_OCMODE_PWM1;
  sConfigOC.Pulse = 0;
  sConfigOC.OCPolarity = TIM_OCPOLARITY_HIGH;
  sConfigOC.OCNPolarity = TIM_OCNPOLARITY_HIGH;
  sConfigOC.OCFastMode = TIM_OCFAST_DISABLE;
  sConfigOC.OCIdleState = TIM_OCIDLESTATE_RESET;
  sConfigOC.OCNIdleState = TIM_OCNIDLESTATE_RESET;
  if (HAL_TIM_PWM_ConfigChannel(&htim1, &sConfigOC, TIM_CHANNEL_1) != HAL_OK)
  {
    Error_Handler();
  }
  sConfigOC.Pulse = 0;
  if (HAL_TIM_PWM_ConfigChannel(&htim1, &sConfigOC, TIM_CHANNEL_2) != HAL_OK)
  {
    Error_Handler();
  }
  sConfigOC.Pulse = 0;
  if (HAL_TIM_PWM_ConfigChannel(&htim1, &sConfigOC, TIM_CHANNEL_3) != HAL_OK)
  {
    Error_Handler();
  }
  sConfigOC.OCMode = TIM_OCMODE_TIMING;
  sConfigOC.Pulse = 0;
  sConfigOC.OCNPolarity = TIM_OCNPOLARITY_HIGH;
  if (HAL_TIM_OC_ConfigChannel(&htim1, &sConfigOC, TIM_CHANNEL_4) != HAL_OK)
  {
    Error_Handler();
  }
  sBreakDeadTimeConfig.OffStateRunMode = TIM_OSSR_DISABLE;
  sBreakDeadTimeConfig.OffStateIDLEMode = TIM_OSSI_DISABLE;
  sBreakDeadTimeConfig.LockLevel = TIM_LOCKLEVEL_OFF;
  sBreakDeadTimeConfig.DeadTime = 80;
  sBreakDeadTimeConfig.BreakState = TIM_BREAK_DISABLE;
  sBreakDeadTimeConfig.BreakPolarity = TIM_BREAKPOLARITY_HIGH;
  sBreakDeadTimeConfig.BreakFilter = 0;
  sBreakDeadTimeConfig.BreakAFMode = TIM_BREAK_AFMODE_INPUT;
  sBreakDeadTimeConfig.Break2State = TIM_BREAK2_DISABLE;
  sBreakDeadTimeConfig.Break2Polarity = TIM_BREAK2POLARITY_HIGH;
  sBreakDeadTimeConfig.Break2Filter = 0;
  sBreakDeadTimeConfig.Break2AFMode = TIM_BREAK_AFMODE_INPUT;
  sBreakDeadTimeConfig.AutomaticOutput = TIM_AUTOMATICOUTPUT_DISABLE;
  if (HAL_TIMEx_ConfigBreakDeadTime(&htim1, &sBreakDeadTimeConfig) != HAL_OK)
  {
    Error_Handler();
  }
  HAL_TIM_MspPostInit(&htim1);

}

static void MX_TIM2_Init(void)
{

  TIM_ClockConfigTypeDef sClockSourceConfig = {0};
  TIM_MasterConfigTypeDef sMasterConfig = {0};

  htim2.Instance = TIM2;
  htim2.Init.Prescaler = 35;
  htim2.Init.CounterMode = TIM_COUNTERMODE_UP;
  htim2.Init.Period = 125000;
  htim2.Init.ClockDivision = TIM_CLOCKDIVISION_DIV1;
  htim2.Init.AutoReloadPreload = TIM_AUTORELOAD_PRELOAD_DISABLE;
  if (HAL_TIM_Base_Init(&htim2) != HAL_OK)
  {
    Error_Handler();
  }
  sClockSourceConfig.ClockSource = TIM_CLOCKSOURCE_INTERNAL;
  if (HAL_TIM_ConfigClockSource(&htim2, &sClockSourceConfig) != HAL_OK)
  {
    Error_Handler();
  }
  sMasterConfig.MasterOutputTrigger = TIM_TRGO_RESET;
  sMasterConfig.MasterSlaveMode = TIM_MASTERSLAVEMODE_DISABLE;
  if (HAL_TIMEx_MasterConfigSynchronization(&htim2, &sMasterConfig) != HAL_OK)
  {
    Error_Handler();
  }

}

static void MX_TIM4_Init(void)
{

  TIM_MasterConfigTypeDef sMasterConfig = {0};
  TIM_OC_InitTypeDef sConfigOC = {0};

  htim4.Instance = TIM4;
  htim4.Init.Prescaler = 0;
  htim4.Init.CounterMode = TIM_COUNTERMODE_UP;
  htim4.Init.Period = 7000;
  htim4.Init.ClockDivision = TIM_CLOCKDIVISION_DIV1;
  htim4.Init.AutoReloadPreload = TIM_AUTORELOAD_PRELOAD_DISABLE;
  if (HAL_TIM_OC_Init(&htim4) != HAL_OK)
  {
    Error_Handler();
  }
  sMasterConfig.MasterOutputTrigger = TIM_TRGO_RESET;
  sMasterConfig.MasterSlaveMode = TIM_MASTERSLAVEMODE_DISABLE;
  if (HAL_TIMEx_MasterConfigSynchronization(&htim4, &sMasterConfig) != HAL_OK)
  {
    Error_Handler();
  }
  sConfigOC.OCMode = TIM_OCMODE_TIMING;
  sConfigOC.Pulse = 0;
  sConfigOC.OCPolarity = TIM_OCPOLARITY_HIGH;
  sConfigOC.OCFastMode = TIM_OCFAST_DISABLE;
  if (HAL_TIM_OC_ConfigChannel(&htim4, &sConfigOC, TIM_CHANNEL_4) != HAL_OK)
  {
    Error_Handler();
  }

}

static void MX_TIM8_Init(void)
{

  TIM_SlaveConfigTypeDef sSlaveConfig = {0};
  TIM_MasterConfigTypeDef sMasterConfig = {0};
  TIM_IC_InitTypeDef sConfigIC = {0};
  TIM_BreakDeadTimeConfigTypeDef sBreakDeadTimeConfig = {0};

  htim8.Instance = TIM8;
  htim8.Init.Prescaler = 3;
  htim8.Init.CounterMode = TIM_COUNTERMODE_UP;
  htim8.Init.Period = 65535;
  htim8.Init.ClockDivision = TIM_CLOCKDIVISION_DIV1;
  htim8.Init.RepetitionCounter = 0;
  htim8.Init.AutoReloadPreload = TIM_AUTORELOAD_PRELOAD_DISABLE;
  if (HAL_TIM_Base_Init(&htim8) != HAL_OK)
  {
    Error_Handler();
  }
  if (HAL_TIM_IC_Init(&htim8) != HAL_OK)
  {
    Error_Handler();
  }
  sSlaveConfig.SlaveMode = TIM_SLAVEMODE_RESET;
  sSlaveConfig.InputTrigger = TIM_TS_TI1FP1;
  sSlaveConfig.TriggerPolarity = TIM_INPUTCHANNELPOLARITY_BOTHEDGE;
  sSlaveConfig.TriggerFilter = 0;
  if (HAL_TIM_SlaveConfigSynchro(&htim8, &sSlaveConfig) != HAL_OK)
  {
    Error_Handler();
  }
  sMasterConfig.MasterOutputTrigger = TIM_TRGO_RESET;
  sMasterConfig.MasterOutputTrigger2 = TIM_TRGO2_RESET;
  sMasterConfig.MasterSlaveMode = TIM_MASTERSLAVEMODE_DISABLE;
  if (HAL_TIMEx_MasterConfigSynchronization(&htim8, &sMasterConfig) != HAL_OK)
  {
    Error_Handler();
  }
  sConfigIC.ICPolarity = TIM_INPUTCHANNELPOLARITY_BOTHEDGE;
  sConfigIC.ICSelection = TIM_ICSELECTION_DIRECTTI;
  sConfigIC.ICPrescaler = TIM_ICPSC_DIV1;
  sConfigIC.ICFilter = 0;
  if (HAL_TIM_IC_ConfigChannel(&htim8, &sConfigIC, TIM_CHANNEL_1) != HAL_OK)
  {
    Error_Handler();
  }
  sBreakDeadTimeConfig.BreakAFMode = TIM_BREAK_AFMODE_INPUT;
  sBreakDeadTimeConfig.Break2AFMode = TIM_BREAK_AFMODE_INPUT;
  if (HAL_TIMEx_ConfigBreakDeadTime(&htim8, &sBreakDeadTimeConfig) != HAL_OK)
  {
    Error_Handler();
  }

}

static void MX_TIM16_Init(void)
{

  TIM_IC_InitTypeDef sConfigIC = {0};

  htim16.Instance = TIM16;
  htim16.Init.Prescaler = 3;
  htim16.Init.CounterMode = TIM_COUNTERMODE_UP;
  htim16.Init.Period = 8000;
  htim16.Init.ClockDivision = TIM_CLOCKDIVISION_DIV1;
  htim16.Init.RepetitionCounter = 0;
  htim16.Init.AutoReloadPreload = TIM_AUTORELOAD_PRELOAD_DISABLE;
  if (HAL_TIM_Base_Init(&htim16) != HAL_OK)
  {
    Error_Handler();
  }
  if (HAL_TIM_IC_Init(&htim16) != HAL_OK)
  {
    Error_Handler();
  }
  sConfigIC.ICPolarity = TIM_INPUTCHANNELPOLARITY_RISING;
  sConfigIC.ICSelection = TIM_ICSELECTION_DIRECTTI;
  sConfigIC.ICPrescaler = TIM_ICPSC_DIV1;
  sConfigIC.ICFilter = 0;
  if (HAL_TIM_IC_ConfigChannel(&htim16, &sConfigIC, TIM_CHANNEL_1) != HAL_OK)
  {
    Error_Handler();
  }

}

static void MX_DMA_Init(void)
{

  /* DMA controller clock enable */
  __HAL_RCC_DMAMUX1_CLK_ENABLE();
  __HAL_RCC_DMA1_CLK_ENABLE();

  /* DMA interrupt init */
  /* DMA1_Channel2_IRQn interrupt configuration */
  HAL_NVIC_SetPriority(DMA1_Channel2_IRQn, 0, 0);
  HAL_NVIC_EnableIRQ(DMA1_Channel2_IRQn);

}

static void MX_GPIO_Init(void)
{
  LL_GPIO_InitTypeDef GPIO_InitStruct = {0};

  /* GPIO Ports Clock Enable */
  LL_AHB2_GRP1_EnableClock(LL_AHB2_GRP1_PERIPH_GPIOF);
  LL_AHB2_GRP1_EnableClock(LL_AHB2_GRP1_PERIPH_GPIOA);
  LL_AHB2_GRP1_EnableClock(LL_AHB2_GRP1_PERIPH_GPIOB);

  /**/
  LL_GPIO_ResetOutputPin(GPIOB, LL_GPIO_PIN_6);

  /**/
  LL_GPIO_ResetOutputPin(GPIOB, LL_GPIO_PIN_7);

  /**/
  GPIO_InitStruct.Pin = LL_GPIO_PIN_4;
  GPIO_InitStruct.Mode = LL_GPIO_MODE_ALTERNATE;
  GPIO_InitStruct.Speed = LL_GPIO_SPEED_FREQ_LOW;
  GPIO_InitStruct.OutputType = LL_GPIO_OUTPUT_PUSHPULL;
  GPIO_InitStruct.Pull = LL_GPIO_PULL_NO;
  GPIO_InitStruct.Alternate = LL_GPIO_AF_2;
  LL_GPIO_Init(GPIOB, &GPIO_InitStruct);

  /**/
  GPIO_InitStruct.Pin = LL_GPIO_PIN_6;
  GPIO_InitStruct.Mode = LL_GPIO_MODE_OUTPUT;
  GPIO_InitStruct.Speed = LL_GPIO_SPEED_FREQ_LOW;
  GPIO_InitStruct.OutputType = LL_GPIO_OUTPUT_PUSHPULL;
  GPIO_InitStruct.Pull = LL_GPIO_PULL_NO;
  LL_GPIO_Init(GPIOB, &GPIO_InitStruct);

  /**/
  GPIO_InitStruct.Pin = LL_GPIO_PIN_7;
  GPIO_InitStruct.Mode = LL_GPIO_MODE_OUTPUT;
  GPIO_InitStruct.Speed = LL_GPIO_SPEED_FREQ_LOW;
  GPIO_InitStruct.OutputType = LL_GPIO_OUTPUT_PUSHPULL;
  GPIO_InitStruct.Pull = LL_GPIO_PULL_NO;
  LL_GPIO_Init(GPIOB, &GPIO_InitStruct);

}

void Error_Handler(void)
{
}

/************************ (C) COPYRIGHT STMicroelectronics *****END OF FILE****/
